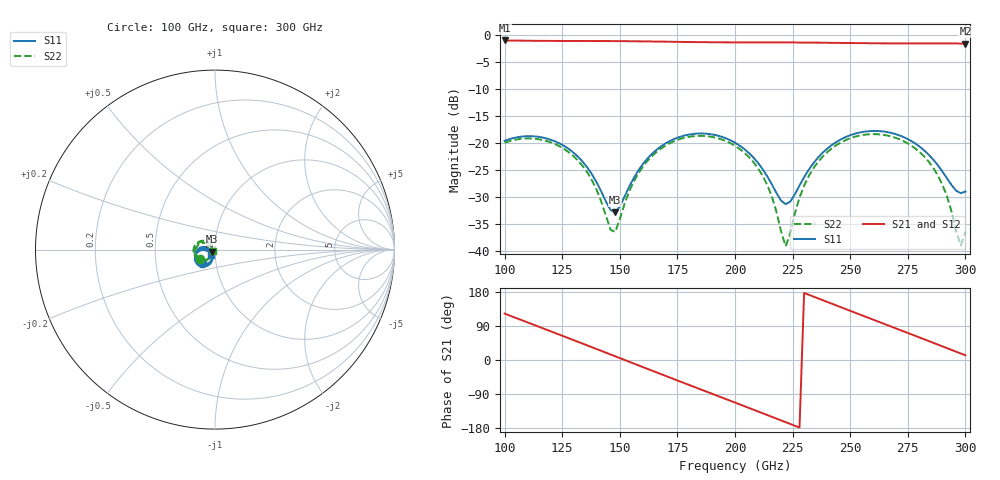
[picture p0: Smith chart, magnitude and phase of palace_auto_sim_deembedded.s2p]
! Created with skrf 1.11.0 (http://scikit-rf.org).
# GHz S DB R 50.0
!freq dBS11 angS11 dBS21 angS21 dBS12 angS12 dBS22 angS22
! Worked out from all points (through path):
!   101 points, 100 GHz to 300 GHz, reference 50 ohm
!   highest |S21| = -1.05 dB at 100 GHz (marker M1); lowest = -1.6 dB at 300 GHz (marker M2)
!   group delay of S21, straight-line fit = 6.53 ps
!   lowest |S11| = -32.9 dB at 148 GHz (marker M3), VSWR 1.05, Z = 48.1 - j1.18 ohm
!   |S11| at or under -10 dB: start of sweep to end of sweep
!   |S22| runs from -39.2 to -18.4 dB; largest |S21 - S12| = 9.8e-14
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100  -19.66 -133.6  -1.05 122.5  -1.05 122.5  -20.01 -147.4
116  -19.00 -164.6  -1.12 85.1  -1.12 85.1  -19.45 178.1
134  -23.58 166.7  -1.15 42.9  -1.15 42.9  -24.39 143.6
140  -27.39 165.9  -1.15 28.7  -1.15 28.7  -28.79 139.3
146  -32.49 -167.3  -1.16 14.5  -1.16 14.5  -36.18 170.5
148  -32.91 -147.2  -1.17 9.8  -1.17 9.8  -36.52 -158.0
156  -26.58 -108.6  -1.20 -9.2  -1.20 -9.2  -27.24 -120.6
168  -20.65 -119.1  -1.27 -37.5  -1.27 -37.5  -21.05 -138.2
184  -18.30 -147.3  -1.36 -75.0  -1.36 -75.0  -18.73 -171.8
200  -19.99 -175.4  -1.40 -112.4  -1.40 -112.4  -20.57 153.9
212  -24.90 172.8  -1.41 -140.5  -1.41 -140.5  -26.13 132.5
216  -27.73 177.2  -1.41 -149.9  -1.41 -149.9  -30.00 130.7
222  -31.40 -147.7  -1.42 -164.1  -1.42 -164.1  -39.18 -175.7
228  -27.94 -110.5  -1.43 -178.3  -1.43 -178.3  -30.17 -118.2
234  -23.82 -105.3  -1.45 167.5  -1.45 167.5  -24.77 -122.3
242  -20.44 -113.0  -1.49 148.6  -1.49 148.6  -21.06 -136.8
252  -18.34 -128.7  -1.54 125.1  -1.54 125.1  -18.90 -157.7
268  -18.20 -155.9  -1.59 87.7  -1.59 87.7  -18.87 167.7
284  -22.19 -176.7  -1.60 50.2  -1.60 50.2  -23.47 135.6
292  -26.59 -172.0  -1.61 31.3  -1.61 31.3  -29.93 128.2
298  -29.37 -142.4  -1.62 17.2  -1.62 17.2  -39.05 -176.9
300  -29.05 -129.0  -1.62 12.4  -1.62 12.4  -36.54 -139.3
